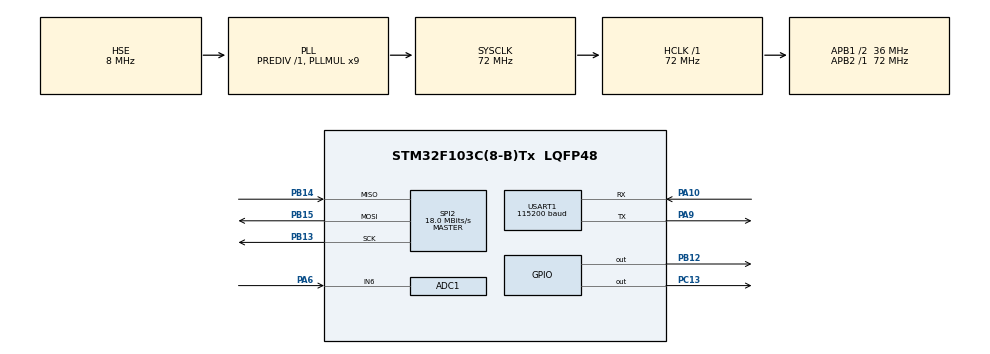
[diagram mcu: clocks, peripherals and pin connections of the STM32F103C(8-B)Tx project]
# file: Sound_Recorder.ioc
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ADC1.Channel-1\#ChannelRegularConversion=ADC_CHANNEL_6
ADC1.ContinuousConvMode=ENABLE
ADC1.NbrOfConversionFlag=1
ADC1.Rank-1\#ChannelRegularConversion=1
ADC1.SamplingTime-1\#ChannelRegularConversion=ADC_SAMPLETIME_1CYCLE_5
ADC1.master=1
FATFS._MAX_SS=4096
FATFS._USE_LFN=1
Mcu.Family=STM32F1
Mcu.Name=STM32F103C(8-B)Tx
Mcu.Package=LQFP48
NVIC.PriorityGroup=NVIC_PRIORITYGROUP_4
NVIC.TIM1_UP_IRQn=true\:0\:0\:false\:false\:true\:true\:true
NVIC.USART1_IRQn=true\:0\:0\:false\:false\:true\:true\:true
PA10.Mode=Asynchronous
PA10.Signal=USART1_RX
PA13.Mode=Serial_Wire
PA13.Signal=SYS_JTMS-SWDIO
PA14.Mode=Serial_Wire
PA14.Signal=SYS_JTCK-SWCLK
PA6.Signal=ADCx_IN6
PA9.Mode=Asynchronous
PA9.Signal=USART1_TX
PB12.Signal=GPIO_Output
PB13.Mode=Full_Duplex_Master
PB13.Signal=SPI2_SCK
PB14.Mode=Full_Duplex_Master
PB14.Signal=SPI2_MISO
PB15.Mode=Full_Duplex_Master
PB15.Signal=SPI2_MOSI
PC13-TAMPER-RTC.Signal=GPIO_Output
PD0-OSC_IN.Mode=HSE-External-Oscillator
PD0-OSC_IN.Signal=RCC_OSC_IN
PD1-OSC_OUT.Mode=HSE-External-Oscillator
PD1-OSC_OUT.Signal=RCC_OSC_OUT
ProjectManager.HeapSize=0x200
ProjectManager.StackSize=0x400
ProjectManager.TargetToolchain=STM32CubeIDE
RCC.AHBFreq_Value=72000000
RCC.APB1CLKDivider=RCC_HCLK_DIV2
RCC.APB1Freq_Value=36000000
RCC.APB1TimFreq_Value=72000000
RCC.APB2Freq_Value=72000000
RCC.APB2TimFreq_Value=72000000
RCC.HCLKFreq_Value=72000000
RCC.PLLMUL=RCC_PLL_MUL9
RCC.PLLSourceVirtual=RCC_PLLSOURCE_HSE
RCC.SYSCLKFreq_VALUE=72000000
RCC.SYSCLKSource=RCC_SYSCLKSOURCE_PLLCLK
RCC.USBFreq_Value=72000000
SH.ADCx_IN6.0=ADC1_IN6,IN6
SPI2.CalculateBaudRate=18.0 MBits/s
SPI2.Direction=SPI_DIRECTION_2LINES
SPI2.Mode=SPI_MODE_MASTER
SPI2.VirtualType=VM_MASTER
TIM1.Channel-Output\ Compare1\ No\ Output=TIM_CHANNEL_1
TIM1.Period=166
TIM1.Prescaler=10
USART1.BaudRate=115200
USART1.VirtualMode=VM_ASYNC
VP_FATFS_VS_Generic.Mode=User_defined
VP_TIM1_VS_ClockSourceINT.Mode=Internal
VP_TIM1_VS_no_output1.Mode=Output Compare1 No Output
board=custom

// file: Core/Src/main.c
/* USER CODE BEGIN Header */
/**
  ******************************************************************************
  * @file           : main.c
  * @brief          : Main program body
  ******************************************************************************
  * @attention
  *
  * Copyright (c) 2021 STMicroelectronics.
  * All rights reserved.
  *
  * This software is licensed under terms that can be found in the LICENSE file
  * in the root directory of this software component.
  * If no LICENSE file comes with this software, it is provided AS-IS.
  *
  ******************************************************************************
  */
/* USER CODE END Header */
#include "main.h"
#include "fatfs.h"

/* USER CODE BEGIN Includes */
#include <stdio.h>
/* USER CODE END Includes */

/* USER CODE BEGIN PD */
FATFS fs;
FIL fil;

#define BUFFER_SIZE 1
/* USER CODE END PD */

ADC_HandleTypeDef hadc1;

SPI_HandleTypeDef hspi2;

TIM_HandleTypeDef htim1;

UART_HandleTypeDef huart1;

/* USER CODE BEGIN PV */

uint8_t start_recording = 0;

int preaudio_position = 0;
int postaudio_position = 0;

uint8_t write_data = 0;

uint16_t data_buffer[BUFFER_SIZE];
uint16_t data_buffer_position = 0;

/* USER CODE END PV */

void SystemClock_Config(void);
static void MX_GPIO_Init(void);
static void MX_SPI2_Init(void);
static void MX_USART1_UART_Init(void);
static void MX_ADC1_Init(void);
static void MX_TIM1_Init(void);

int main(void)
{

  /* MCU Configuration--------------------------------------------------------*/

  /* Reset of all peripherals, Initializes the Flash interface and the Systick. */
  HAL_Init();

  /* Configure the system clock */
  SystemClock_Config();

  /* Initialize all configured peripherals */
  MX_GPIO_Init();
  MX_SPI2_Init();
  MX_FATFS_Init();
  MX_USART1_UART_Init();
  MX_ADC1_Init();
  MX_TIM1_Init();
  /* USER CODE BEGIN 2 */

  /* Initialize Timer 1 and interrupts */
  HAL_TIM_Base_Start_IT(&htim1);

  /* Mount SD card and write data to it */
 if(f_mount(&fs, "", 0) != FR_OK){
	 uint8_t mt_error[] = "Error mounting SD card\n";
	 HAL_UART_Transmit(&huart1,mt_error, sizeof(mt_error),HAL_MAX_DELAY);
 }
 else{
	 uint8_t mt_success[] = "SD card mounted successfully\n";
	 HAL_UART_Transmit(&huart1,mt_success, sizeof(mt_success),HAL_MAX_DELAY);
	 /* Open File for writing */
	 FRESULT fr =  f_open(&fil, "wav.txt", FA_OPEN_ALWAYS | FA_WRITE | FA_READ);
	  if( fr == FR_OK){
		  /* Perform writing or reading action */
		  uint8_t open_success[] = "File opened successfully\n";
		  HAL_UART_Transmit(&huart1,open_success, sizeof(open_success),HAL_MAX_DELAY);

		  /* Generate the Header Chunk */
		  f_puts("RIFF",&fil); //Header chunk ID
		  f_puts("----",&fil); //File size (Minus the header ID and the file-size itself
		  f_puts("WAVE",&fil); //RIFF Type
		  /* Generate the Format Chunk */
		  f_puts("fmt ",&fil); // Format chunk ID
		  f_puts("1600",&fil); //Size
		  f_puts("10",&fil); //Compression code (1. PCM/Uncompressed
		  f_puts("44100",&fil); //Sample-rate
		  f_puts("Samplerate * bitdepth / 8",&fil); //Average bytes per second
		  f_puts("20",&fil); //Block align (bytes per sample size
		  f_puts("16",&fil); //Significant Bits per sample
		  /* Generate Data Chunk */
		  f_puts("data",&fil); //Data chunk ID
		  f_puts("----",&fil); //Size of data chunk

		  preaudio_position = fil.fsize;

		  /* Sample data here */
		  start_recording = 1;
		  /* Sample data ends here */

	  }
	  else{
		  /* Perform error handling since opening file failed */
		  uint8_t opn_error[] = "Opening file failed with Error :  ";
		  uint8_t error_msg[2];
		  itoa(fr,error_msg,10);
		  uint8_t end_line_char[] = "\n";
		  HAL_UART_Transmit(&huart1,opn_error, sizeof(opn_error),HAL_MAX_DELAY);
		  HAL_UART_Transmit(&huart1,error_msg, sizeof(error_msg),HAL_MAX_DELAY);
		  HAL_UART_Transmit(&huart1,end_line_char, sizeof(end_line_char),HAL_MAX_DELAY);
	  }
 }

  /* USER CODE END 2 */

  /* Infinite loop */
  while (1)
  {

    /* USER CODE BEGIN 3 */
	// HAL_GPIO_TogglePin(GPIOC, GPIO_PIN_13);
	  if(write_data){
		for(volatile int i = 0; i < BUFFER_SIZE; i++){
			uint8_t payload[5];
			uint8_t endline[]="\n";
			itoa(data_buffer[i],payload,10);
			f_puts(payload,&fil);
			HAL_UART_Transmit(&huart1, payload, sizeof(payload), HAL_MAX_DELAY);
			HAL_UART_Transmit(&huart1, endline, sizeof(endline), HAL_MAX_DELAY);
		}
		/****** Fill in file size blanks and close file ********/
		postaudio_position = fil.fsize;

		/* Fill in data chunk size */
		f_lseek(&fil, preaudio_position - 4);
		uint8_t data_size[4];
		itoa((postaudio_position - preaudio_position),data_size,10);
		f_puts(data_size,&fil);

		/* Fill in the Header chunk size */
		f_lseek(&fil, 4);
		uint8_t file_size[4];
		itoa((postaudio_position - 8),file_size,10);
		f_puts(file_size,&fil);

		f_close(&fil);
		write_data = 0;

		uint8_t close_success[] = "File closed successfully";

		HAL_UART_Transmit(&huart1, close_success, sizeof(close_success), HAL_MAX_DELAY);

		/***********************************************************/

	}

  }
  /* USER CODE END 3 */
}

void SystemClock_Config(void)
{
  RCC_OscInitTypeDef RCC_OscInitStruct = {0};
  RCC_ClkInitTypeDef RCC_ClkInitStruct = {0};
  RCC_PeriphCLKInitTypeDef PeriphClkInit = {0};

  /** Initializes the RCC Oscillators according to the specified parameters
  * in the RCC_OscInitTypeDef structure.
  */
  RCC_OscInitStruct.OscillatorType = RCC_OSCILLATORTYPE_HSE;
  RCC_OscInitStruct.HSEState = RCC_HSE_ON;
  RCC_OscInitStruct.HSEPredivValue = RCC_HSE_PREDIV_DIV1;
  RCC_OscInitStruct.HSIState = RCC_HSI_ON;
  RCC_OscInitStruct.PLL.PLLState = RCC_PLL_ON;
  RCC_OscInitStruct.PLL.PLLSource = RCC_PLLSOURCE_HSE;
  RCC_OscInitStruct.PLL.PLLMUL = RCC_PLL_MUL9;
  if (HAL_RCC_OscConfig(&RCC_OscInitStruct) != HAL_OK)
  {
    Error_Handler();
  }
  /** Initializes the CPU, AHB and APB buses clocks
  */
  RCC_ClkInitStruct.ClockType = RCC_CLOCKTYPE_HCLK|RCC_CLOCKTYPE_SYSCLK
                              |RCC_CLOCKTYPE_PCLK1|RCC_CLOCKTYPE_PCLK2;
  RCC_ClkInitStruct.SYSCLKSource = RCC_SYSCLKSOURCE_PLLCLK;
  RCC_ClkInitStruct.AHBCLKDivider = RCC_SYSCLK_DIV1;
  RCC_ClkInitStruct.APB1CLKDivider = RCC_HCLK_DIV2;
  RCC_ClkInitStruct.APB2CLKDivider = RCC_HCLK_DIV1;

  if (HAL_RCC_ClockConfig(&RCC_ClkInitStruct, FLASH_LATENCY_2) != HAL_OK)
  {
    Error_Handler();
  }
  PeriphClkInit.PeriphClockSelection = RCC_PERIPHCLK_ADC;
  PeriphClkInit.AdcClockSelection = RCC_ADCPCLK2_DIV2;
  if (HAL_RCCEx_PeriphCLKConfig(&PeriphClkInit) != HAL_OK)
  {
    Error_Handler();
  }
}

static void MX_ADC1_Init(void)
{

  ADC_ChannelConfTypeDef sConfig = {0};

  /** Common config
  */
  hadc1.Instance = ADC1;
  hadc1.Init.ScanConvMode = ADC_SCAN_DISABLE;
  hadc1.Init.ContinuousConvMode = ENABLE;
  hadc1.Init.DiscontinuousConvMode = DISABLE;
  hadc1.Init.ExternalTrigConv = ADC_SOFTWARE_START;
  hadc1.Init.DataAlign = ADC_DATAALIGN_RIGHT;
  hadc1.Init.NbrOfConversion = 1;
  if (HAL_ADC_Init(&hadc1) != HAL_OK)
  {
    Error_Handler();
  }
  /** Configure Regular Channel
  */
  sConfig.Channel = ADC_CHANNEL_6;
  sConfig.Rank = ADC_REGULAR_RANK_1;
  sConfig.SamplingTime = ADC_SAMPLETIME_1CYCLE_5;
  if (HAL_ADC_ConfigChannel(&hadc1, &sConfig) != HAL_OK)
  {
    Error_Handler();
  }

}

static void MX_SPI2_Init(void)
{

  /* SPI2 parameter configuration*/
  hspi2.Instance = SPI2;
  hspi2.Init.Mode = SPI_MODE_MASTER;
  hspi2.Init.Direction = SPI_DIRECTION_2LINES;
  hspi2.Init.DataSize = SPI_DATASIZE_8BIT;
  hspi2.Init.CLKPolarity = SPI_POLARITY_LOW;
  hspi2.Init.CLKPhase = SPI_PHASE_1EDGE;
  hspi2.Init.NSS = SPI_NSS_SOFT;
  hspi2.Init.BaudRatePrescaler = SPI_BAUDRATEPRESCALER_2;
  hspi2.Init.FirstBit = SPI_FIRSTBIT_MSB;
  hspi2.Init.TIMode = SPI_TIMODE_DISABLE;
  hspi2.Init.CRCCalculation = SPI_CRCCALCULATION_DISABLE;
  hspi2.Init.CRCPolynomial = 10;
  if (HAL_SPI_Init(&hspi2) != HAL_OK)
  {
    Error_Handler();
  }

}

static void MX_TIM1_Init(void)
{

  TIM_ClockConfigTypeDef sClockSourceConfig = {0};
  TIM_MasterConfigTypeDef sMasterConfig = {0};
  TIM_OC_InitTypeDef sConfigOC = {0};
  TIM_BreakDeadTimeConfigTypeDef sBreakDeadTimeConfig = {0};

  htim1.Instance = TIM1;
  htim1.Init.Prescaler = 10;
  htim1.Init.CounterMode = TIM_COUNTERMODE_UP;
  htim1.Init.Period = 166;
  htim1.Init.ClockDivision = TIM_CLOCKDIVISION_DIV1;
  htim1.Init.RepetitionCounter = 0;
  htim1.Init.AutoReloadPreload = TIM_AUTORELOAD_PRELOAD_DISABLE;
  if (HAL_TIM_Base_Init(&htim1) != HAL_OK)
  {
    Error_Handler();
  }
  sClockSourceConfig.ClockSource = TIM_CLOCKSOURCE_INTERNAL;
  if (HAL_TIM_ConfigClockSource(&htim1, &sClockSourceConfig) != HAL_OK)
  {
    Error_Handler();
  }
  if (HAL_TIM_OC_Init(&htim1) != HAL_OK)
  {
    Error_Handler();
  }
  sMasterConfig.MasterOutputTrigger = TIM_TRGO_RESET;
  sMasterConfig.MasterSlaveMode = TIM_MASTERSLAVEMODE_DISABLE;
  if (HAL_TIMEx_MasterConfigSynchronization(&htim1, &sMasterConfig) != HAL_OK)
  {
    Error_Handler();
  }
  sConfigOC.OCMode = TIM_OCMODE_TIMING;
  sConfigOC.Pulse = 0;
  sConfigOC.OCPolarity = TIM_OCPOLARITY_HIGH;
  sConfigOC.OCNPolarity = TIM_OCNPOLARITY_HIGH;
  sConfigOC.OCFastMode = TIM_OCFAST_DISABLE;
  sConfigOC.OCIdleState = TIM_OCIDLESTATE_RESET;
  sConfigOC.OCNIdleState = TIM_OCNIDLESTATE_RESET;
  if (HAL_TIM_OC_ConfigChannel(&htim1, &sConfigOC, TIM_CHANNEL_1) != HAL_OK)
  {
    Error_Handler();
  }
  sBreakDeadTimeConfig.OffStateRunMode = TIM_OSSR_DISABLE;
  sBreakDeadTimeConfig.OffStateIDLEMode = TIM_OSSI_DISABLE;
  sBreakDeadTimeConfig.LockLevel = TIM_LOCKLEVEL_OFF;
  sBreakDeadTimeConfig.DeadTime = 0;
  sBreakDeadTimeConfig.BreakState = TIM_BREAK_DISABLE;
  sBreakDeadTimeConfig.BreakPolarity = TIM_BREAKPOLARITY_HIGH;
  sBreakDeadTimeConfig.AutomaticOutput = TIM_AUTOMATICOUTPUT_DISABLE;
  if (HAL_TIMEx_ConfigBreakDeadTime(&htim1, &sBreakDeadTimeConfig) != HAL_OK)
  {
    Error_Handler();
  }

}

static void MX_USART1_UART_Init(void)
{

  huart1.Instance = USART1;
  huart1.Init.BaudRate = 115200;
  huart1.Init.WordLength = UART_WORDLENGTH_8B;
  huart1.Init.StopBits = UART_STOPBITS_1;
  huart1.Init.Parity = UART_PARITY_NONE;
  huart1.Init.Mode = UART_MODE_TX_RX;
  huart1.Init.HwFlowCtl = UART_HWCONTROL_NONE;
  huart1.Init.OverSampling = UART_OVERSAMPLING_16;
  if (HAL_UART_Init(&huart1) != HAL_OK)
  {
    Error_Handler();
  }

}

static void MX_GPIO_Init(void)
{
  GPIO_InitTypeDef GPIO_InitStruct = {0};

  /* GPIO Ports Clock Enable */
  __HAL_RCC_GPIOC_CLK_ENABLE();
  __HAL_RCC_GPIOD_CLK_ENABLE();
  __HAL_RCC_GPIOA_CLK_ENABLE();
  __HAL_RCC_GPIOB_CLK_ENABLE();

  /*Configure GPIO pin Output Level */
  HAL_GPIO_WritePin(GPIOC, GPIO_PIN_13, GPIO_PIN_RESET);

  /*Configure GPIO pin Output Level */
  HAL_GPIO_WritePin(GPIOB, GPIO_PIN_12, GPIO_PIN_RESET);

  /*Configure GPIO pin : PC13 */
  GPIO_InitStruct.Pin = GPIO_PIN_13;
  GPIO_InitStruct.Mode = GPIO_MODE_OUTPUT_PP;
  GPIO_InitStruct.Pull = GPIO_NOPULL;
  GPIO_InitStruct.Speed = GPIO_SPEED_FREQ_LOW;
  HAL_GPIO_Init(GPIOC, &GPIO_InitStruct);

  /*Configure GPIO pin : PB12 */
  GPIO_InitStruct.Pin = GPIO_PIN_12;
  GPIO_InitStruct.Mode = GPIO_MODE_OUTPUT_PP;
  GPIO_InitStruct.Pull = GPIO_NOPULL;
  GPIO_InitStruct.Speed = GPIO_SPEED_FREQ_LOW;
  HAL_GPIO_Init(GPIOB, &GPIO_InitStruct);

}

/* USER CODE BEGIN 4 */

/* Timer Update Interrupts
 *  This Callback is executed after every 23 micro-seconds (44100 Hz)
 *  */
void HAL_TIM_PeriodElapsedCallback(TIM_HandleTypeDef *htim){
	/* Confirm we are here because Timer 1 update event occurred */
	if(htim == &htim1){

		if(start_recording){
			/* Start ADC conversion and read ADC value */
			HAL_ADC_Start(&hadc1);
			uint16_t adc_value = HAL_ADC_GetValue(&hadc1);
			/* Write value to buffer */
			data_buffer[data_buffer_position] = adc_value;
			data_buffer_position ++;

			if(data_buffer_position >= (BUFFER_SIZE - 1)){
				write_data = 1;
				start_recording = 0;
			}
			/* Print ADC value to serial console */
			uint8_t data[5];
			uint8_t end_line[] = "\n";
			itoa(adc_value,data,10);
			HAL_UART_Transmit(&huart1, data, sizeof(data), HAL_MAX_DELAY);
			HAL_UART_Transmit(&huart1, end_line, sizeof(end_line), HAL_MAX_DELAY);

		}
	}
}

/* USER CODE END 4 */

void Error_Handler(void)
{
  __disable_irq();
  while (1)
  {
  }
}
